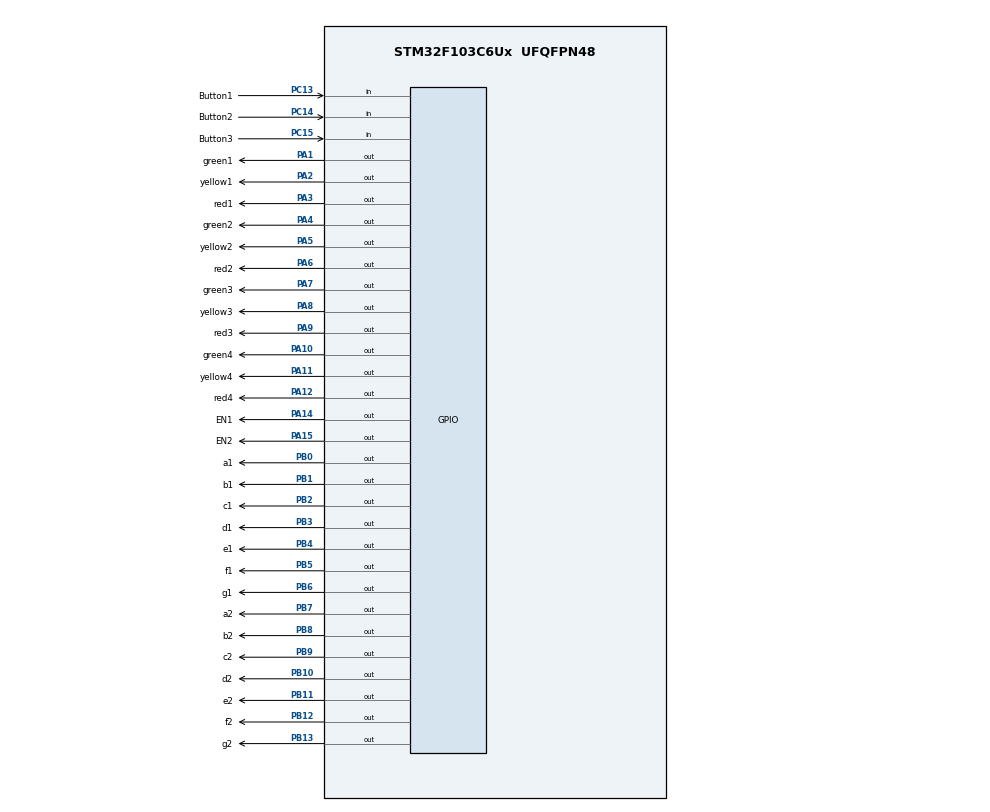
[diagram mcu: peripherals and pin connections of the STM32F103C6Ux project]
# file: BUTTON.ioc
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Mcu.Family=STM32F1
Mcu.Name=STM32F103C6Ux
Mcu.Package=UFQFPN48
NVIC.PriorityGroup=NVIC_PRIORITYGROUP_4
NVIC.TIM2_IRQn=true\:0\:0\:false\:false\:true\:true\:true
PA1.GPIO_Label=green1
PA1.Signal=GPIO_Output
PA10.GPIO_Label=green4
PA10.Signal=GPIO_Output
PA11.GPIO_Label=yellow4
PA11.Signal=GPIO_Output
PA12.GPIO_Label=red4
PA12.Signal=GPIO_Output
PA14.GPIO_Label=EN1
PA14.Signal=GPIO_Output
PA15.GPIO_Label=EN2
PA15.Signal=GPIO_Output
PA2.GPIO_Label=yellow1
PA2.Signal=GPIO_Output
PA3.GPIO_Label=red1
PA3.Signal=GPIO_Output
PA4.GPIO_Label=green2
PA4.Signal=GPIO_Output
PA5.GPIO_Label=yellow2
PA5.Signal=GPIO_Output
PA6.GPIO_Label=red2
PA6.Signal=GPIO_Output
PA7.GPIO_Label=green3
PA7.Signal=GPIO_Output
PA8.GPIO_Label=yellow3
PA8.Signal=GPIO_Output
PA9.GPIO_Label=red3
PA9.Signal=GPIO_Output
PB0.GPIO_Label=a1
PB0.Signal=GPIO_Output
PB1.GPIO_Label=b1
PB1.Signal=GPIO_Output
PB10.GPIO_Label=d2
PB10.Signal=GPIO_Output
PB11.GPIO_Label=e2
PB11.Signal=GPIO_Output
PB12.GPIO_Label=f2
PB12.Signal=GPIO_Output
PB13.GPIO_Label=g2
PB13.Signal=GPIO_Output
PB2.GPIO_Label=c1
PB2.Signal=GPIO_Output
PB3.GPIO_Label=d1
PB3.Signal=GPIO_Output
PB4.GPIO_Label=e1
PB4.Signal=GPIO_Output
PB5.GPIO_Label=f1
PB5.Signal=GPIO_Output
PB6.GPIO_Label=g1
PB6.Signal=GPIO_Output
PB7.GPIO_Label=a2
PB7.Signal=GPIO_Output
PB8.GPIO_Label=b2
PB8.Signal=GPIO_Output
PB9.GPIO_Label=c2
PB9.Signal=GPIO_Output
PC13-TAMPER-RTC.GPIO_Label=Button1
PC13-TAMPER-RTC.GPIO_PuPd=GPIO_PULLUP
PC13-TAMPER-RTC.Signal=GPIO_Input
PC14-OSC32_IN.GPIO_Label=Button2
PC14-OSC32_IN.GPIO_PuPd=GPIO_PULLUP
PC14-OSC32_IN.Signal=GPIO_Input
PC15-OSC32_OUT.GPIO_Label=Button3
PC15-OSC32_OUT.GPIO_PuPd=GPIO_PULLUP
PC15-OSC32_OUT.Signal=GPIO_Input
ProjectManager.HeapSize=0x200
ProjectManager.StackSize=0x400
ProjectManager.TargetToolchain=STM32CubeIDE
RCC.APB1Freq_Value=8000000
RCC.APB2Freq_Value=8000000
TIM2.Period=9
TIM2.Prescaler=7999
VP_SYS_VS_ND.Mode=No_Debug
VP_TIM2_VS_ClockSourceINT.Mode=Internal
board=custom

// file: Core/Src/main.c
/* USER CODE BEGIN Header */
/**
  ******************************************************************************
  * @file           : main.c
  * @brief          : Main program body
  ******************************************************************************
  * @attention
  *
  * <h2><center>&copy; Copyright (c) 2022 STMicroelectronics.
  * All rights reserved.</center></h2>
  *
  * This software component is licensed by ST under BSD 3-Clause license,
  * the "License"; You may not use this file except in compliance with the
  * License. You may obtain a copy of the License at:
  *                        opensource.org/licenses/BSD-3-Clause
  *
  ******************************************************************************
  */
/* USER CODE END Header */
#include "main.h"

/* USER CODE BEGIN Includes */
#include "software_timer.h"
#include "button.h"
#include "fsm_automatic.h"
#include "display7SEG.h"
#include "blink_led.h"
#include "main_fsm.h"
#include "global.h"
/* USER CODE END Includes */

TIM_HandleTypeDef htim2;

void SystemClock_Config(void);
static void MX_GPIO_Init(void);
static void MX_TIM2_Init(void);

int main(void)
{

  /* MCU Configuration--------------------------------------------------------*/

  /* Reset of all peripherals, Initializes the Flash interface and the Systick. */
  HAL_Init();

  /* Configure the system clock */
  SystemClock_Config();

  /* Initialize all configured peripherals */
  MX_GPIO_Init();
  MX_TIM2_Init();
  /* USER CODE BEGIN 2 */
  HAL_TIM_Base_Start_IT(&htim2);
  status1 = INIT;
  status2 = INIT;
  status_main = NormalMode;
  uint32_t counter = 1 + htim2.Init.Period;
  uint32_t prescaler = 1 + htim2.Init.Prescaler;
  frequency = 8000000/(counter*prescaler);
  setTimer2(50);
  /* USER CODE END 2 */

  /* Infinite loop */
  while (1)
  {
	  main_fsm();
  }
}

void SystemClock_Config(void)
{
  RCC_OscInitTypeDef RCC_OscInitStruct = {0};
  RCC_ClkInitTypeDef RCC_ClkInitStruct = {0};

  /** Initializes the RCC Oscillators according to the specified parameters
  * in the RCC_OscInitTypeDef structure.
  */
  RCC_OscInitStruct.OscillatorType = RCC_OSCILLATORTYPE_HSI;
  RCC_OscInitStruct.HSIState = RCC_HSI_ON;
  RCC_OscInitStruct.HSICalibrationValue = RCC_HSICALIBRATION_DEFAULT;
  RCC_OscInitStruct.PLL.PLLState = RCC_PLL_NONE;
  if (HAL_RCC_OscConfig(&RCC_OscInitStruct) != HAL_OK)
  {
    Error_Handler();
  }
  /** Initializes the CPU, AHB and APB buses clocks
  */
  RCC_ClkInitStruct.ClockType = RCC_CLOCKTYPE_HCLK|RCC_CLOCKTYPE_SYSCLK
                              |RCC_CLOCKTYPE_PCLK1|RCC_CLOCKTYPE_PCLK2;
  RCC_ClkInitStruct.SYSCLKSource = RCC_SYSCLKSOURCE_HSI;
  RCC_ClkInitStruct.AHBCLKDivider = RCC_SYSCLK_DIV1;
  RCC_ClkInitStruct.APB1CLKDivider = RCC_HCLK_DIV1;
  RCC_ClkInitStruct.APB2CLKDivider = RCC_HCLK_DIV1;

  if (HAL_RCC_ClockConfig(&RCC_ClkInitStruct, FLASH_LATENCY_0) != HAL_OK)
  {
    Error_Handler();
  }
}

static void MX_TIM2_Init(void)
{

  TIM_ClockConfigTypeDef sClockSourceConfig = {0};
  TIM_MasterConfigTypeDef sMasterConfig = {0};

  htim2.Instance = TIM2;
  htim2.Init.Prescaler = 7999;
  htim2.Init.CounterMode = TIM_COUNTERMODE_UP;
  htim2.Init.Period = 9;
  htim2.Init.ClockDivision = TIM_CLOCKDIVISION_DIV1;
  htim2.Init.AutoReloadPreload = TIM_AUTORELOAD_PRELOAD_DISABLE;
  if (HAL_TIM_Base_Init(&htim2) != HAL_OK)
  {
    Error_Handler();
  }
  sClockSourceConfig.ClockSource = TIM_CLOCKSOURCE_INTERNAL;
  if (HAL_TIM_ConfigClockSource(&htim2, &sClockSourceConfig) != HAL_OK)
  {
    Error_Handler();
  }
  sMasterConfig.MasterOutputTrigger = TIM_TRGO_RESET;
  sMasterConfig.MasterSlaveMode = TIM_MASTERSLAVEMODE_DISABLE;
  if (HAL_TIMEx_MasterConfigSynchronization(&htim2, &sMasterConfig) != HAL_OK)
  {
    Error_Handler();
  }

}

static void MX_GPIO_Init(void)
{
  GPIO_InitTypeDef GPIO_InitStruct = {0};

  /* GPIO Ports Clock Enable */
  __HAL_RCC_GPIOC_CLK_ENABLE();
  __HAL_RCC_GPIOA_CLK_ENABLE();
  __HAL_RCC_GPIOB_CLK_ENABLE();

  /*Configure GPIO pin Output Level */
  HAL_GPIO_WritePin(GPIOA, green1_Pin|yellow1_Pin|red1_Pin|green2_Pin
                          |yellow2_Pin|red2_Pin|green3_Pin|yellow3_Pin
                          |red3_Pin|green4_Pin|yellow4_Pin|red4_Pin
                          |EN1_Pin|EN2_Pin, GPIO_PIN_RESET);

  /*Configure GPIO pin Output Level */
  HAL_GPIO_WritePin(GPIOB, a1_Pin|b1_Pin|c1_Pin|d2_Pin
                          |e2_Pin|f2_Pin|g2_Pin|d1_Pin
                          |e1_Pin|f1_Pin|g1_Pin|a2_Pin
                          |b2_Pin|c2_Pin, GPIO_PIN_RESET);

  /*Configure GPIO pins : Button1_Pin Button2_Pin Button3_Pin */
  GPIO_InitStruct.Pin = Button1_Pin|Button2_Pin|Button3_Pin;
  GPIO_InitStruct.Mode = GPIO_MODE_INPUT;
  GPIO_InitStruct.Pull = GPIO_PULLUP;
  HAL_GPIO_Init(GPIOC, &GPIO_InitStruct);

  /*Configure GPIO pins : green1_Pin yellow1_Pin red1_Pin green2_Pin
                           yellow2_Pin red2_Pin green3_Pin yellow3_Pin
                           red3_Pin green4_Pin yellow4_Pin red4_Pin
                           EN1_Pin EN2_Pin */
  GPIO_InitStruct.Pin = green1_Pin|yellow1_Pin|red1_Pin|green2_Pin
                          |yellow2_Pin|red2_Pin|green3_Pin|yellow3_Pin
                          |red3_Pin|green4_Pin|yellow4_Pin|red4_Pin
                          |EN1_Pin|EN2_Pin;
  GPIO_InitStruct.Mode = GPIO_MODE_OUTPUT_PP;
  GPIO_InitStruct.Pull = GPIO_NOPULL;
  GPIO_InitStruct.Speed = GPIO_SPEED_FREQ_LOW;
  HAL_GPIO_Init(GPIOA, &GPIO_InitStruct);

  /*Configure GPIO pins : a1_Pin b1_Pin c1_Pin d2_Pin
                           e2_Pin f2_Pin g2_Pin d1_Pin
                           e1_Pin f1_Pin g1_Pin a2_Pin
                           b2_Pin c2_Pin */
  GPIO_InitStruct.Pin = a1_Pin|b1_Pin|c1_Pin|d2_Pin
                          |e2_Pin|f2_Pin|g2_Pin|d1_Pin
                          |e1_Pin|f1_Pin|g1_Pin|a2_Pin
                          |b2_Pin|c2_Pin;
  GPIO_InitStruct.Mode = GPIO_MODE_OUTPUT_PP;
  GPIO_InitStruct.Pull = GPIO_NOPULL;
  GPIO_InitStruct.Speed = GPIO_SPEED_FREQ_LOW;
  HAL_GPIO_Init(GPIOB, &GPIO_InitStruct);

}

/* USER CODE BEGIN 4 */
void HAL_TIM_PeriodElapsedCallback(TIM_HandleTypeDef *htim){
	timerRun();
	getKeyInput();
}
/* USER CODE END 4 */

void Error_Handler(void)
{
  __disable_irq();
  while (1)
  {
  }
}

/************************ (C) COPYRIGHT STMicroelectronics *****END OF FILE****/
